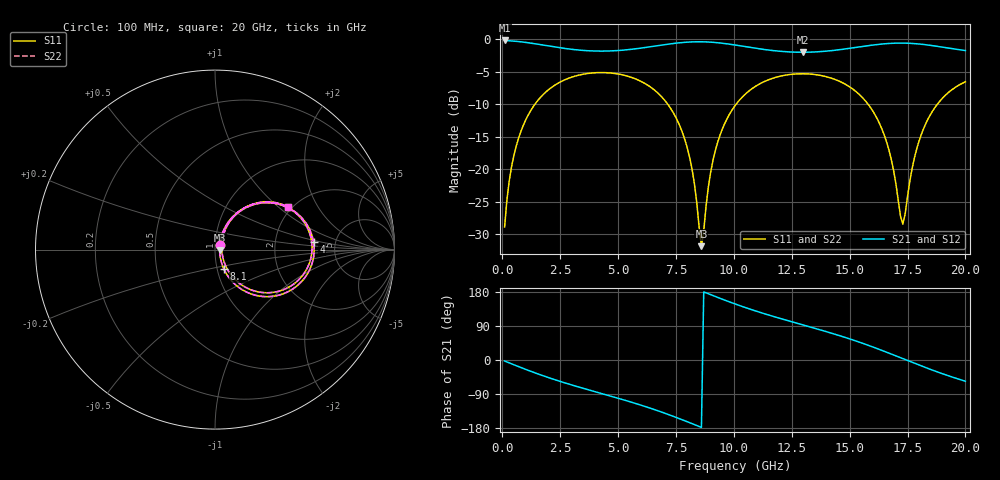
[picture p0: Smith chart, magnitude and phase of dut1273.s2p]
! Touchstone file exported from HFSS 2026.1.0
!  File:  C:/ffzhzh/LocalFiles/Ansys_Project_Files/temp_train_TSV_RDL_1273_1783329176_38820.aedt
!  Generated:  05:29:17 PM Jul  6, 2026
!  Design:  TSV_RDL
!  Project:  temp_train_TSV_RDL_1273_1783329176_38820
! Variables:
!  h_bsmrdl = 4.41um
!  h_ox = 20um
!  h_rdl = 5um
!  h_sub = 88.26um
!  h_tmrdl = 3.59um
!  h_tsv = 88.26um
!  h_via = 3um
!  l_bsmrdl = 909.2um
!  l_sub = 7031.17um
!  l_tmrdl = 937.38um
!  m_sub = 200um
!  pitch = 59.65um
!  r_tsv = 10.3um
!  s_tmrdl = 10um
!  w_bsmrdl = 24.85um
!  w_sub = 500um
!  w_tmrdl = 26.5um
!  x_tsv_center1 = 950.63um
!  x_tsv_center2 = 1884.68um
!  x_tsv_center3 = 2848.56um
!  x_tsv_center4 = 3782.61um
!  x_tsv_center5 = 4746.49um
!  x_tsv_center6 = 5680.54um
# GHz S MA R 50.000000
! Terminal data exported
! Port[1] = TM_RDL1_1_T1
! Port[2] = TM_RDL5_1_T1
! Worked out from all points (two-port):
!   200 points, 100 MHz to 20 GHz, reference 50 ohm
!   highest |S21| = -0.21 dB at 100 MHz (marker M1); lowest = -2.0 dB at 13 GHz (marker M2)
!   |S21| within 3 dB of the highest: start of sweep to end of sweep
!   lowest |S11| = -31.9 dB at 8.6 GHz (marker M3), VSWR 1.05, Z = 52.6 - j0.16 ohm
!   |S11| at or under -10 dB: start of sweep to 1.415 GHz; 7.14 GHz to 10.1 GHz (2.964 GHz wide, 34.4 % of centre); 15.79 GHz to 18.79 GHz (3.003 GHz wide, 17.4 % of centre)
!   |S22| runs from -31.8 to -5.2 dB; largest |S21 - S12| = 1.5e-14
!   S11 on the Smith chart (normalised r, x): 100 MHz: 1.05, +0.05; 4 GHz: 3.39, +0.42; 8.1 GHz: 1.08, -0.24; 20 GHz: 1.89, +1.16
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0.1  0.03586 45.5  0.9757 -2.6  0.9757 -2.6  0.03586 45.5
! Gamma 0 0 0 0
! Port Impedance 50 0 50 0
0.5  0.1271 64.7  0.9644 -12.6  0.9644 -12.6  0.1271 64.7
1.1  0.2566 56.7  0.938 -26.9  0.938 -26.9  0.2566 56.7
3.5  0.537 12.9  0.8177 -74.9  0.8177 -74.9  0.537 12.9
4  0.5505 4.5  0.8093 -83.6  0.8093 -83.6  0.5505 4.5
5.3  0.5248 -17.2  0.8244 -106.3  0.8244 -106.3  0.5248 -17.2
6.8  0.3723 -44.6  0.8945 -135.6  0.8945 -135.6  0.3723 -44.5
7.6  0.2286 -59.6  0.9341 -153.6  0.9341 -153.6  0.2286 -59.6
8.1  0.1209 -65.5  0.9496 -165.6  0.9496 -165.6  0.1209 -65.4
8.6  0.02552 -3.4  0.9532 -177.8  0.9532 -177.8  0.02564 -3.4
8.9  0.07302 62.9  0.9493 174.8  0.9493 174.8  0.07305 62.8
9.2  0.1389 65.7  0.9409 167.6  0.9409 167.6  0.1389 65.6
10.1  0.3156 51.5  0.8975 146.9  0.8975 146.9  0.3156 51.5
11.4  0.4785 27.8  0.8274 120.6  0.8274 120.6  0.4785 27.8
13  0.5409 1.2  0.7917 92.3  0.7917 92.3  0.5409 1.2
13.4  0.536 -5.3  0.7946 85.3  0.7946 85.3  0.536 -5.3
15.5  0.3628 -41.4  0.8744 45.4  0.8744 45.4  0.3627 -41.4
16.7  0.1397 -58.0  0.9251 18.1  0.9251 18.1  0.1396 -58.0
17.3  0.03776 5.6  0.9312 3.5  0.9312 3.5  0.03777 5.8
17.8  0.1224 62.6  0.9229 -8.6  0.9229 -8.6  0.1225 62.7
18.2  0.2058 60.9  0.9085 -18.1  0.9085 -18.1  0.2059 60.9
20  0.4696 30.5  0.8159 -56.1  0.8159 -56.1  0.4697 30.6
